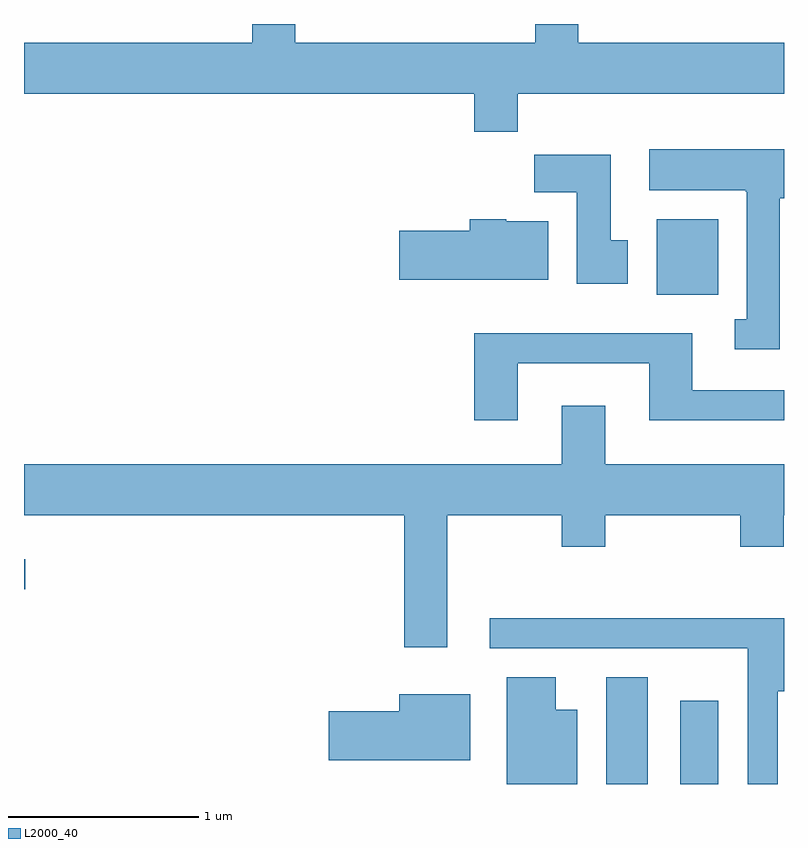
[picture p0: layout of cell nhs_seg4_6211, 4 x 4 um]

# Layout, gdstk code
import gdstk
lib = gdstk.Library(unit=1e-6, precision=1e-09)
def R(c, l, rs):  # rectangles x0, y0, x1, y1
    for r in rs: c.add(gdstk.rectangle(r[:2], r[2:], *l))
def P(c, l, *ps):  # polygons
    for p in ps: c.add(gdstk.Polygon(p, *l))
L2000_40 = (2000, 40)

nhs_seg4_6211 = lib.new_cell('nhs_seg4_6211')
R(nhs_seg4_6211, L2000_40, [(370.676,1299.982,370.894,1300.544), (371.066,1299.982,371.264,1300.419), (367.611,1301.006,367.618,1301.164), (370.941,1302.556,371.264,1302.954)])
P(nhs_seg4_6211, L2000_40, [(370.209,1303.616),(371.611,1303.616),(371.611,1303.884),(370.529,1303.884),(370.529,1303.982),(370.301,1303.982),(370.301,1303.884),(369.039,1303.884),(369.039,1303.982),(368.811,1303.982),(368.811,1303.884),(367.611,1303.884),(367.611,1303.616),(369.981,1303.616),(369.981,1303.416),(370.209,1303.416)],
  [(371.589,1303.066),(371.611,1303.066),(371.611,1303.324),(370.901,1303.324),(370.901,1303.106),(371.41,1303.106),(371.41,1303.1),(371.416,1303.1),(371.416,1302.429),(371.353,1302.429),(371.353,1302.271),(371.589,1302.271)],
  [(370.789,1302.844),(370.699,1302.844),(370.699,1303.294),(370.296,1303.294),(370.296,1303.096),(370.521,1303.096),(370.521,1302.616),(370.789,1302.616)],
  [(370.369,1302.944),(370.15,1302.944),(370.15,1302.954),(369.956,1302.954),(369.956,1302.894),(369.586,1302.894),(369.586,1302.636),(370.369,1302.636)],
  [(370.209,1302.196),(370.901,1302.196),(370.901,1301.896),(371.611,1301.896),(371.611,1302.054),(371.129,1302.054),(371.129,1302.354),(369.981,1302.354),(369.981,1301.896),(370.209,1301.896)],
  [(369.839,1301.396),(370.441,1301.396),(370.441,1301.231),(370.669,1301.231),(370.669,1301.396),(371.381,1301.396),(371.381,1301.231),(371.609,1301.231),(371.609,1301.396),(371.611,1301.396),(371.611,1301.664),(370.669,1301.664),(370.669,1301.974),(370.441,1301.974),(370.441,1301.664),(367.611,1301.664),(367.611,1301.396),(369.611,1301.396),(369.611,1300.701),(369.839,1300.701)],
  [(371.579,1300.471),(371.611,1300.471),(371.611,1300.854),(370.063,1300.854),(370.063,1300.696),(371.421,1300.696),(371.421,1299.982),(371.579,1299.982)],
  [(370.524,1300.374),(370.409,1300.374),(370.409,1300.544),(370.151,1300.544),(370.151,1299.982),(370.524,1299.982)],
  [(369.959,1300.454),(369.586,1300.454),(369.586,1300.364),(369.216,1300.364),(369.216,1300.106),(369.959,1300.106)])

lib.write_gds('nhs_seg4_6211.gds')
